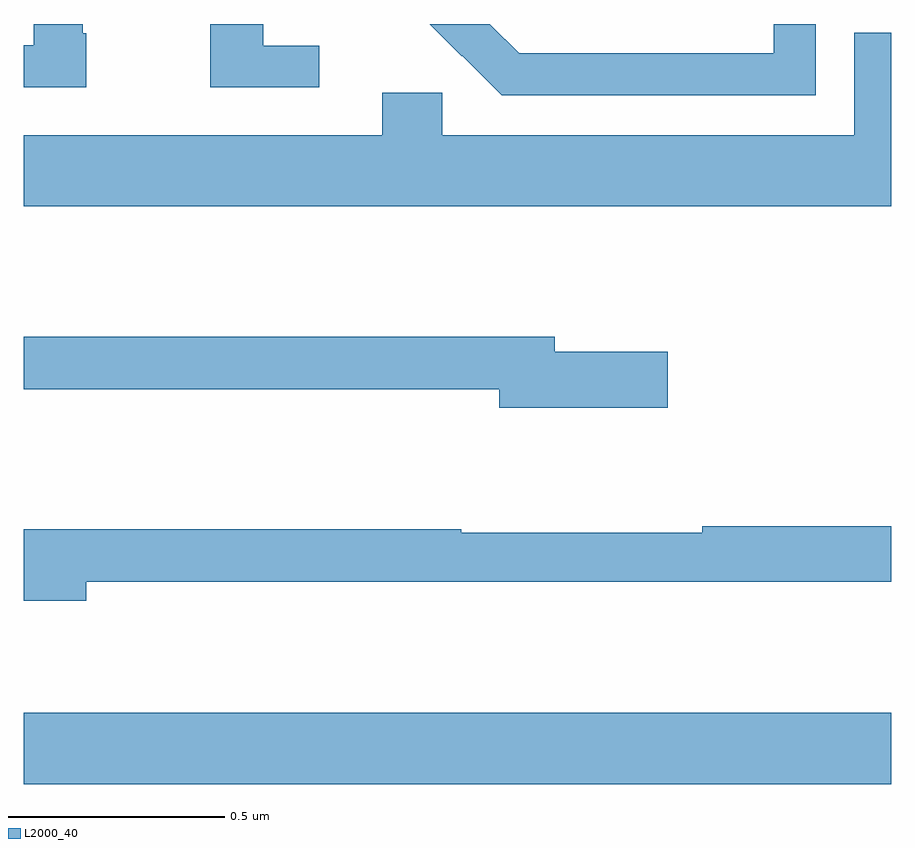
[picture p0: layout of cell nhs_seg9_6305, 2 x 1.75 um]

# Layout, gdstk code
import gdstk
lib = gdstk.Library(unit=1e-6, precision=1e-09)
def R(c, l, rs):  # rectangles x0, y0, x1, y1
    for r in rs: c.add(gdstk.rectangle(r[:2], r[2:], *l))
def P(c, l, *ps):  # polygons
    for p in ps: c.add(gdstk.Polygon(p, *l))
L2000_40 = (2000, 40)

nhs_seg9_6305 = lib.new_cell('nhs_seg9_6305')
R(nhs_seg9_6305, L2000_40, [(190,1201.748,192,1201.912)])
P(nhs_seg9_6305, L2000_40, [(190.144,1203.479),(190.136,1203.479),(190.136,1203.5),(190.023,1203.5),(190.023,1203.451),(190,1203.451),(190,1203.354),(190.144,1203.354)],
  [(191.826,1203.5),(191.729,1203.5),(191.729,1203.432),(191.245,1203.432),(191.245,1203.433),(191.142,1203.433),(191.074,1203.5),(190.936,1203.5),(191.01,1203.426),(191.011,1203.427),(191.102,1203.336),(191.826,1203.336)],
  [(190.681,1203.45),(190.552,1203.45),(190.552,1203.5),(190.43,1203.5),(190.43,1203.354),(190.681,1203.354)],
  [(192,1203.48),(191.915,1203.48),(191.915,1203.244),(190.965,1203.244),(190.965,1203.342),(190.826,1203.342),(190.826,1203.244),(190,1203.244),(190,1203.08),(192,1203.08)],
  [(191.485,1202.745),(191.224,1202.745),(191.224,1202.779),(190,1202.779),(190,1202.658),(191.096,1202.658),(191.096,1202.615),(191.485,1202.615)],
  [(190.144,1202.214),(192,1202.214),(192,1202.342),(191.564,1202.342),(191.564,1202.327),(191.009,1202.327),(191.009,1202.335),(190,1202.335),(190,1202.171),(190.144,1202.171)])

lib.write_gds('nhs_seg9_6305.gds')
